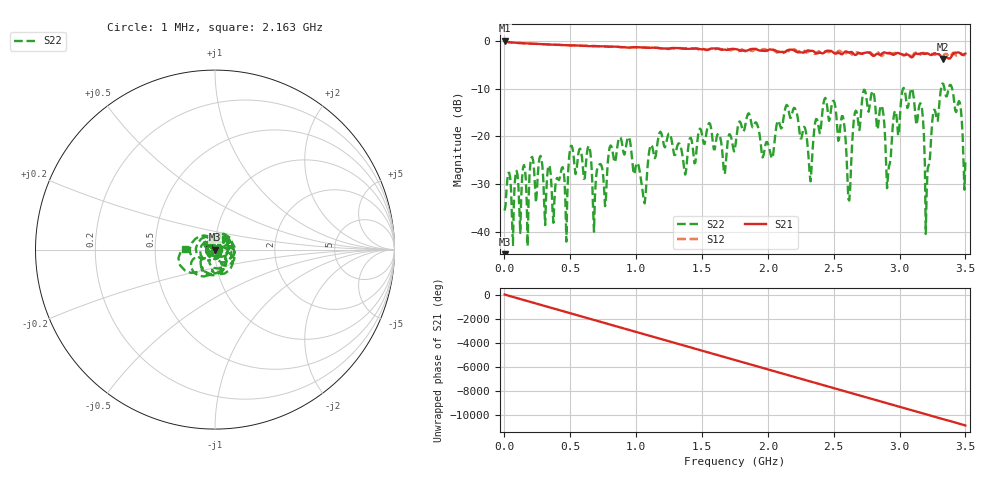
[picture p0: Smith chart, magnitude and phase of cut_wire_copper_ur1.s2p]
# GHZ S RI R 50.000000000000
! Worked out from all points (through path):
!   501 points, 1 MHz to 3.5 GHz, reference 50 ohm
!   highest |S21| = 0.00 dB at 1 MHz (marker M1); lowest = -3.8 dB at 3.332 GHz (marker M2)
!   group delay of S21, straight-line fit = 8.65 ns
!   lowest |S11| = - dB at 1 MHz (marker M3), VSWR 1.00, Z = 50 + j0 ohm
!   |S11| at or under -10 dB: start of sweep to end of sweep
!   |S22| runs from -42.9 to -9.0 dB; largest |S21 - S12| = 0.084
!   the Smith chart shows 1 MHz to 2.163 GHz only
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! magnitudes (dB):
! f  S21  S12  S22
! 1 MHz  0.0  0.0  -35.4
! 588.8 MHz  -1.1  -1.1  -24.4
! 679.8 MHz  -1.2  -1.2  -39.8
! 945.7 MHz  -1.5  -1.5  -20.2
! 1.058 GHz  -1.5  -1.4  -33.3
! 1.17 GHz  -1.5  -1.6  -20.0
! 1.75 GHz  -1.8  -1.8  -22.5
! 2.03 GHz  -1.9  -1.9  -24.6
! 2.142 GHz  -2.2  -2.1  -13.4
! 2.338 GHz  -2.1  -2.4  -23.4
! 2.499 GHz  -2.5  -2.3  -12.5
! 2.618 GHz  -2.5  -2.5  -33.4
! 2.66 GHz  -3.0  -2.8  -15.1
! 2.793 GHz  -3.1  -2.9  -10.6
! 2.919 GHz  -2.6  -2.7  -26.3
! 2.961 GHz  -2.9  -2.6  -15.0
! 3.094 GHz  -3.5  -3.2  -10.0
! 3.164 GHz  -2.6  -2.8  -13.3
! 3.213 GHz  -2.7  -2.8  -26.8
! 3.332 GHz  -3.8  -3.2  -9.0
! 3.458 GHz  -2.6  -2.6  -12.9
! 3.5 GHz  -2.7  -2.9  -25.1
